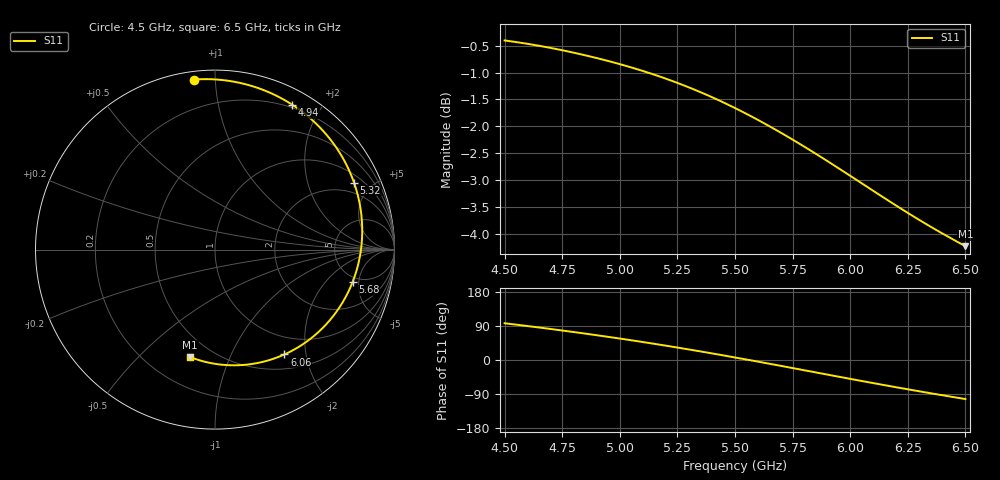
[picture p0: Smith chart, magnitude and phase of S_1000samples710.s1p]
! TOUCHSTONE file generated by CST MICROWAVE STUDIO
! Date and time: Sat Oct 29 02:50:48 2022
! Project name: L.cst
! Parameters = {Di=1.27; Epsilon_r=1.56; InnerDiameter=1.27; Length=2; Lf=10; Lg=60; OuterConductorThickness=0.2921; OuterDiameter=3.6; Wf=3; Wp=41.2; de=1.5; df=6.8; g=0.8; gx=4.7407; gy=4.50296; h=2.34; hf=1.524; px=13.4941; py=12.5017; w=9.7; wx=8.75339; wy=7.99873}
! Header version: 2018
! Port assignment regex: !\s*Touchstone port\s*([0-9]+)\s*=\s*(CST MWS port|CST DS port)\s*([0-9]+|Zmin|Zmax)\s*\(\"(.*)\"\)(\s*mode\s*([0-9]+))?.*
! Touchstone port assignment:
! Touchstone port 1 = CST MWS port 1 ("")
# GHz S DB R 50
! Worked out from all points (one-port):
!   101 points, 4.5 GHz to 6.5 GHz, reference 50 ohm
!   lowest |S11| = -4.2 dB at 6.5 GHz (marker M1), VSWR 4.18, Z = 18.8 - j36.2 ohm
!   |S11| at or under -10 dB: nowhere
!   S11 on the Smith chart (normalised r, x): 4.5 GHz: 0.04, +0.88; 4.94 GHz: 0.17, +1.65; 5.32 GHz: 1.37, +3.92; 5.68 GHz: 4.34, -4.15; 6.06 GHz: 0.71, -1.63; 6.5 GHz: 0.38, -0.72
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4.5  -0.40 96.9
4.58  -0.45 91.1
4.64  -0.50 86.5
4.76  -0.59 77.0
4.86  -0.69 68.8
4.94  -0.77 61.9
5  -0.84 56.6
5.06  -0.92 51.1
5.12  -1.00 45.5
5.2  -1.11 37.8
5.26  -1.21 31.9
5.32  -1.31 25.8
5.42  -1.50 15.3
5.5  -1.66 6.7
5.58  -1.84 -2.1
5.62  -1.93 -6.6
5.68  -2.07 -13.3
5.76  -2.27 -22.4
5.82  -2.43 -29.2
5.88  -2.59 -36.1
5.94  -2.76 -42.9
6  -2.92 -49.8
6.06  -3.09 -56.5
6.16  -3.37 -67.6
6.26  -3.64 -78.4
6.32  -3.80 -84.7
6.38  -3.95 -90.9
6.5  -4.23 -103.1
